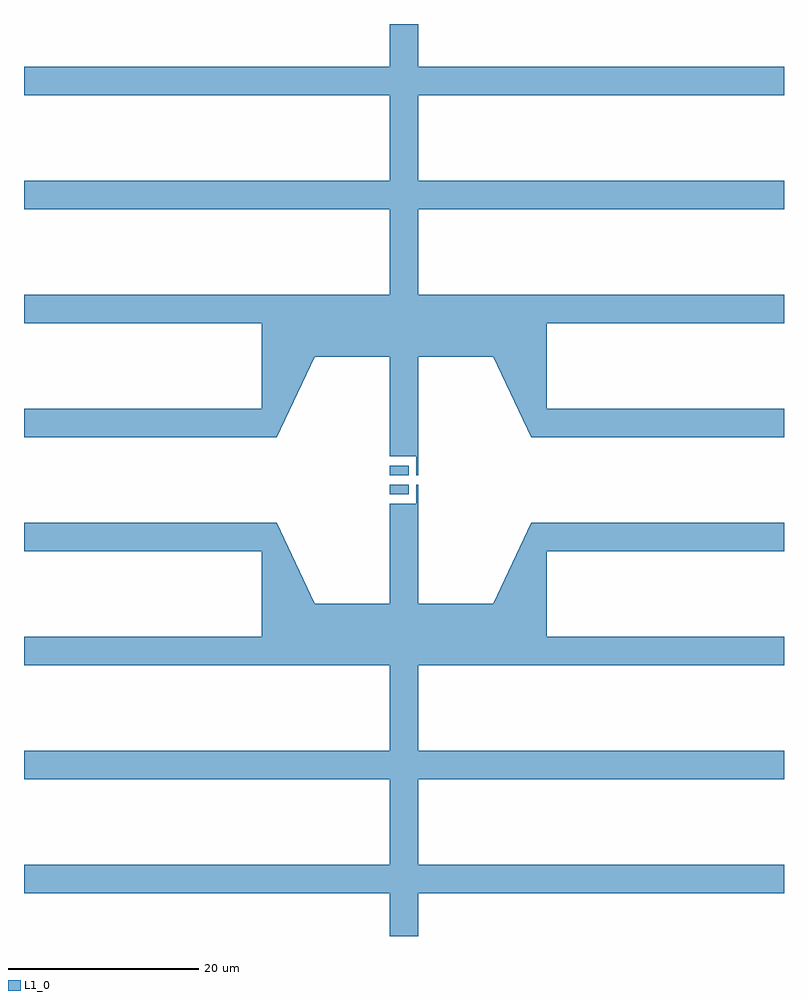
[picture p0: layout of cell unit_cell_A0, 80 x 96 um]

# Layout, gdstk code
from math import pi, radians
import gdstk
lib = gdstk.Library(unit=1e-6, precision=1e-09)
def R(c, l, rs):  # rectangles x0, y0, x1, y1
    for r in rs: c.add(gdstk.rectangle(r[:2], r[2:], *l))
def P(c, l, *ps):  # polygons
    for p in ps: c.add(gdstk.Polygon(p, *l))
L1_0 = (1, 0)

unnamed_929 = lib.new_cell('Unnamed_929')
P(unnamed_929, L1_0, [(38.5,0),(38.5,4.5),(0,4.5),(0,7.5),(38.5,7.5),(38.5,16.5),(0,16.5),(0,19.5),(38.5,19.5),(38.5,28.5),(0,28.5),(0,31.5),(25,31.5),(25,40.5),(0,40.5),(0,43.5),(26.597,43.5),(30.596,35),(38.5,35),(38.5,45.5),(40,45.5),(40,0)])

unnamed_930 = lib.new_cell('Unnamed_930')
unnamed_930.add(gdstk.Reference(unnamed_929, (0,0)))

rectangle_s2_1_lwg_cfal_ = lib.new_cell('rectangle_S2_1_LWG_CFal_a0a9c26d')
R(rectangle_s2_1_lwg_cfal_, L1_0, [(0,0,2,1)])

rectangle_s0p2_2_lwg_cf_ = lib.new_cell('rectangle_S0p2_2_LWG_CF_9ef6d549')
R(rectangle_s0p2_2_lwg_cf_, L1_0, [(0,0,0.2,2)])

unnamed_931 = lib.new_cell('Unnamed_931')
unnamed_931.add(gdstk.Reference(rectangle_s2_1_lwg_cfal_, (0,-1.5)))
unnamed_931.add(gdstk.Reference(rectangle_s0p2_2_lwg_cf_, (2.8,-2.5)))

unit_cell_a0 = lib.new_cell('unit_cell_A0')
unit_cell_a0.add(gdstk.Reference(unnamed_930, (0,0)))
unit_cell_a0.add(gdstk.Reference(unnamed_930, (80,0), rotation=pi, x_reflection=True))
unit_cell_a0.add(gdstk.Reference(unnamed_930, (0,96), x_reflection=True))
unit_cell_a0.add(gdstk.Reference(unnamed_930, (80,96), rotation=pi))
unit_cell_a0.add(gdstk.Reference(unnamed_931, (38.5,48)))
unit_cell_a0.add(gdstk.Reference(unnamed_931, (38.5,48), x_reflection=True))

lib.write_gds('unit_cell_A0.gds')
